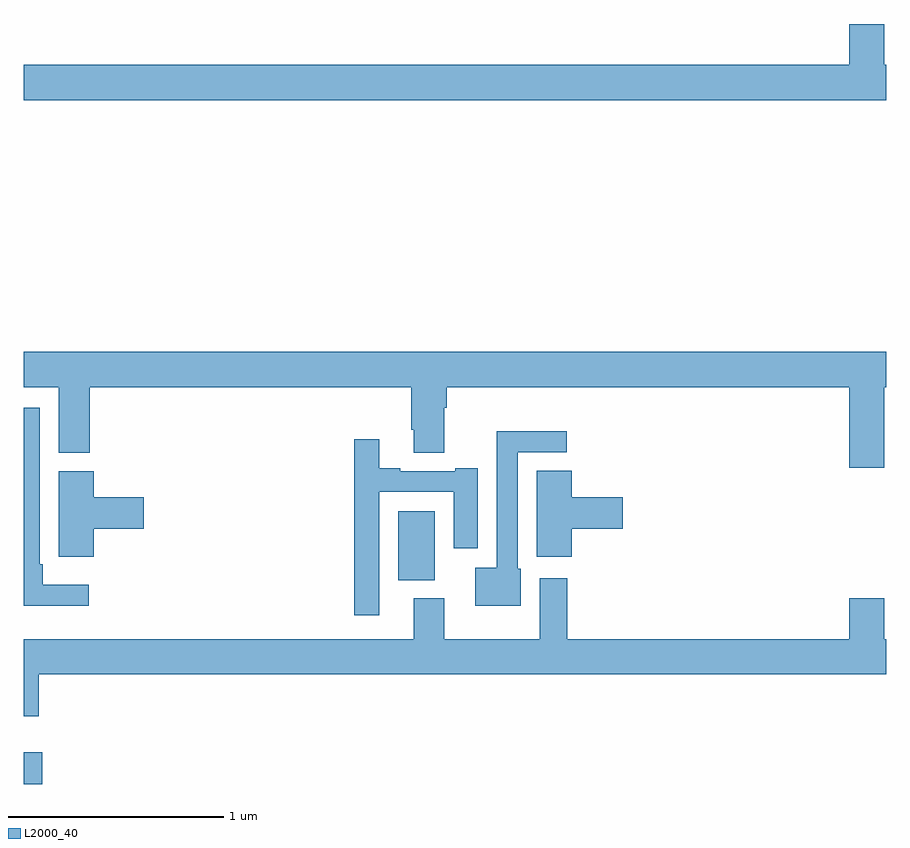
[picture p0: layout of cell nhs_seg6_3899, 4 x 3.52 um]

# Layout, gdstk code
import gdstk
lib = gdstk.Library(unit=1e-6, precision=1e-09)
def R(c, l, rs):  # rectangles x0, y0, x1, y1
    for r in rs: c.add(gdstk.rectangle(r[:2], r[2:], *l))
def P(c, l, *ps):  # polygons
    for p in ps: c.add(gdstk.Polygon(p, *l))
L2000_40 = (2000, 40)

nhs_seg6_3899 = lib.new_cell('nhs_seg6_3899')
R(nhs_seg6_3899, L2000_40, [(341,941.5,341.086,941.647), (342.737,942.446,342.907,942.766)])
P(nhs_seg6_3899, L2000_40, [(345,944.836),(344.992,944.836),(344.992,945.025),(344.828,945.025),(344.828,944.836),(341,944.836),(341,944.672),(345,944.672)],
  [(344.992,943.34),(345,943.34),(345,943.504),(341,943.504),(341,943.34),(341.162,943.34),(341.162,943.036),(341.306,943.036),(341.306,943.34),(342.797,943.34),(342.797,943.144),(342.809,943.144),(342.809,943.036),(342.949,943.036),(342.949,943.244),(342.962,943.244),(342.962,943.34),(344.828,943.34),(344.828,942.966),(344.992,942.966)],
  [(341.302,942.424),(341.089,942.424),(341.089,942.52),(341.073,942.52),(341.073,943.246),(341,943.246),(341,942.326),(341.302,942.326)],
  [(343.306,942.498),(343.29,942.498),(343.29,943.038),(343.519,943.038),(343.519,943.136),(343.194,943.136),(343.194,942.502),(343.094,942.502),(343.094,942.326),(343.306,942.326)],
  [(342.648,942.855),(342.995,942.855),(342.995,942.594),(343.105,942.594),(343.105,942.964),(343.001,942.964),(343.001,942.951),(342.745,942.951),(342.745,942.964),(342.649,942.964),(342.649,943.099),(342.532,943.099),(342.532,942.282),(342.648,942.282)],
  [(343.541,942.683),(343.777,942.683),(343.777,942.83),(343.541,942.83),(343.541,942.953),(343.379,942.953),(343.379,942.555),(343.541,942.555)],
  [(341.324,942.683),(341.557,942.683),(341.557,942.83),(341.324,942.83),(341.324,942.951),(341.162,942.951),(341.162,942.667),(341.163,942.667),(341.163,942.555),(341.324,942.555)],
  [(341.069,942.008),(345,942.008),(345,942.172),(344.992,942.172),(344.992,942.361),(344.828,942.361),(344.828,942.172),(343.52,942.172),(343.52,942.454),(343.394,942.454),(343.394,942.172),(342.949,942.172),(342.949,942.361),(342.809,942.361),(342.809,942.172),(341,942.172),(341,941.814),(341.069,941.814)])

lib.write_gds('nhs_seg6_3899.gds')
